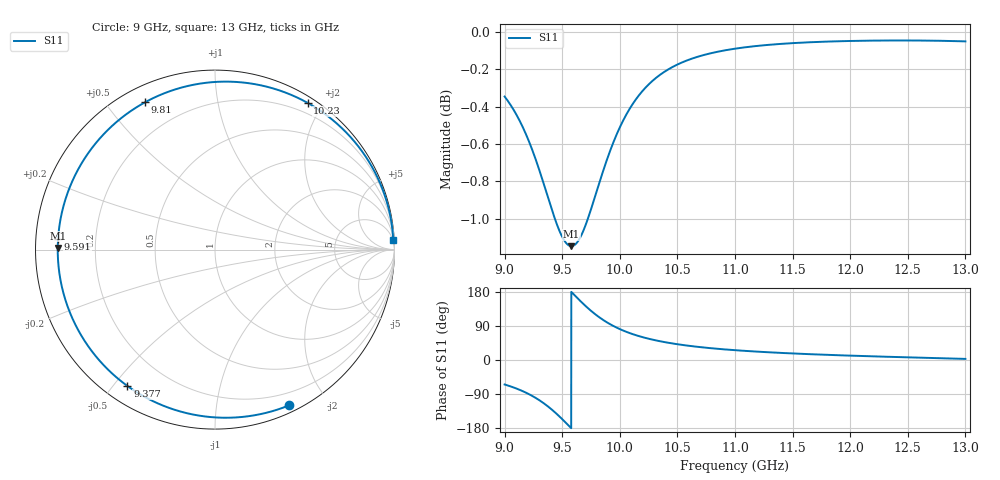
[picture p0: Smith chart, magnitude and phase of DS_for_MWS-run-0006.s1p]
! TOUCHSTONE file generated by CST DESIGN STUDIO
! Date and time: Tue Feb  4 18:30:38 2025
! Project name: C:\Work\MatlabApps\UnitCellOptimizationMatlab\CST\unitcell.cst
! Tree item: Tasks\Sweep1\SPara1\S-Parameters
! Header version: 2024
! Port assignment regex: !\s*Touchstone port\s*([0-9]+)\s*=\s*(CST MWS port|CST DES external port|CST DES block port)\s*(.+)\s* \(\"(.*)\"\)(\s*mode\s*([0-9]+))?.*
! Touchstone port assignment:
! Touchstone port 1 = CST DES external port 1 ("")
# GHz S MA R 50
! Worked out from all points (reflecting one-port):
!   4001 points, 9 GHz to 13 GHz, reference 50 ohm
!   lowest |S11| = -1.1 dB at 9.58 GHz (marker M1), VSWR 15.17, Z = 3.3 + j0.248 ohm
!   phase of S11 starts at -65 deg and turns -292 deg over the sweep
!   S11 on the Smith chart (normalised r, x): 9 GHz: 0.07, -1.58; 9.377 GHz: 0.07, -0.54; 9.591 GHz: 0.07, +0.03; 9.81 GHz: 0.07, +0.63; 10.23 GHz: 0.07, +1.81; 13 GHz: 4, +39
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9  0.9609 -64.6
9.044  0.9568 -68.9
9.111  0.9492 -76.3
9.227  0.9321 -92.7
9.306  0.9174 -107.1
9.377  0.9029 -122.7
9.437  0.8911 -138.1
9.5  0.8814 -156.0
9.541  0.8775 -168.5
9.58  0.8763 179.4
9.591  0.8764 176.0
9.646  0.8799 159.1
9.708  0.8886 141.1
9.759  0.8982 127.5
9.81  0.9087 115.3
9.852  0.9172 106.4
9.896  0.9257 98.0
10  0.9428 81.6
10.109  0.9562 68.5
10.229  0.9666 57.7
10.354  0.9741 49.2
10.5  0.9801 41.6
10.721  0.9857 33.2
11  0.9897 25.9
11.5  0.9931 17.3
12  0.9944 11.5
12.5  0.9947 7.0
13  0.9942 2.9
